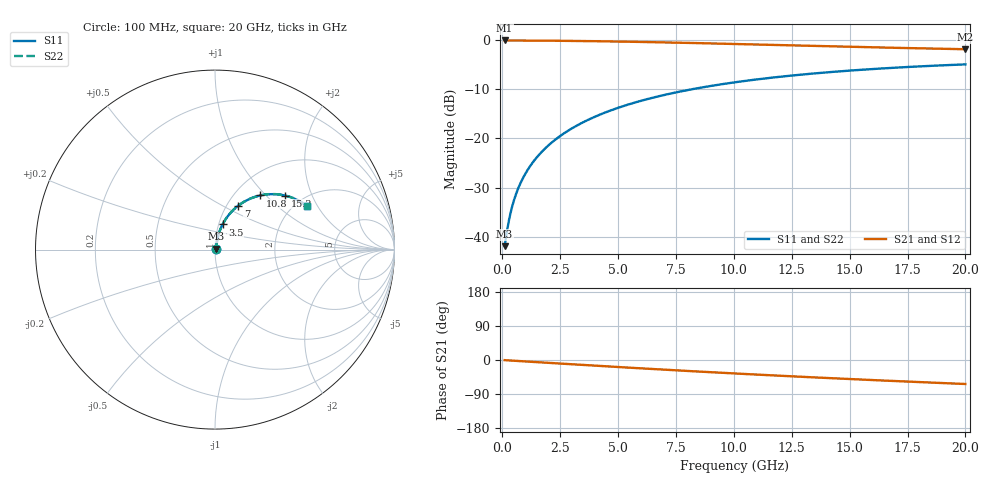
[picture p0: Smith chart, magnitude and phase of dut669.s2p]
! Touchstone file exported from HFSS 2026.1.0
!  File:  C:/ffzhzh/LocalFiles/Ansys_Project_Files/temp_train_BSMRDL_669_1783017318_53980.aedt
!  Generated:  02:36:58 AM Jul  3, 2026
!  Design:  BSMRDL
!  Project:  temp_train_BSMRDL_669_1783017318_53980
! Variables:
!  h_bsmrdl = 2.99um
!  h_ox = 20um
!  h_rdl = 5um
!  h_sub = 80um
!  h_tmrdl = 5um
!  h_tsv = 80um
!  h_via = 3um
!  l_bsmrdl = 976.64um
!  l_sub = 1376.64um
!  l_tmrdl = 200um
!  m_sub = 200um
!  pitch = 48.83um
!  r_tsv = 6um
!  s_tmrdl = 10um
!  w_bsmrdl = 17.85um
!  w_sub = 500um
!  w_tmrdl = 12um
!  x_tsv_center1 = 206um
!  x_tsv_center2 = 1200.49um
!  x_tsv_center3 = 1412.49um
!  x_tsv_center4 = 2406.98um
!  x_tsv_center5 = 2618.98um
!  x_tsv_center6 = 3613.47um
# GHz S MA R 50.000000
! Terminal data exported
! Port[1] = BSM_RDL1_1_T1
! Port[2] = BSM_RDL1_1_T2
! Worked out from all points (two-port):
!   200 points, 100 MHz to 20 GHz, reference 50 ohm
!   highest |S21| = -0.06 dB at 100 MHz (marker M1); lowest = -1.8 dB at 20 GHz (marker M2)
!   |S21| within 3 dB of the highest: start of sweep to end of sweep
!   lowest |S11| = -41.9 dB at 100 MHz (marker M3), VSWR 1.02, Z = 50.7 + j0.46 ohm
!   |S11| at or under -10 dB: start of sweep to 8.178 GHz
!   |S22| runs from -41.9 to -4.9 dB; largest |S21 - S12| = 3.8e-15
!   S11 on the Smith chart (normalised r, x): 100 MHz: 1.01, +0.01; 3.5 GHz: 1.04, +0.30; 7 GHz: 1.13, +0.60; 10.8 GHz: 1.30, +0.93; 15.2 GHz: 1.64, +1.31; 20 GHz: 2.30, +1.63
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0.1  0.008007 34.5  0.9934 -0.4  0.9934 -0.4  0.008007 34.5
! Gamma 0 0 0 0
! Port Impedance 50 0 50 0
0.2  0.01132 52.7  0.9932 -0.8  0.9932 -0.8  0.01132 52.7
0.3  0.01521 61.6  0.993 -1.2  0.993 -1.2  0.01521 61.6
0.4  0.01925 66.6  0.9927 -1.6  0.9927 -1.6  0.01925 66.6
0.5  0.02334 69.7  0.9924 -1.9  0.9924 -1.9  0.02333 69.7
0.6  0.02743 71.7  0.9921 -2.3  0.9921 -2.3  0.02743 71.7
0.8  0.03565 74.3  0.9916 -3.1  0.9916 -3.1  0.03565 74.3
1.1  0.04803 76.2  0.9908 -4.2  0.9908 -4.2  0.04803 76.2
1.6  0.06874 77.0  0.9893 -6.1  0.9893 -6.1  0.06874 77.0
2.1  0.08943 76.6  0.9875 -7.9  0.9875 -7.9  0.08942 76.6
2.7  0.1141 75.4  0.9847 -10.2  0.9847 -10.2  0.1141 75.4
3.5  0.1464 73.3  0.98 -13.1  0.98 -13.1  0.1464 73.3
5  0.2049 68.6  0.9686 -18.5  0.9686 -18.5  0.2049 68.6
6.8  0.2702 62.7  0.9514 -24.8  0.9514 -24.8  0.2702 62.8
7  0.2771 62.1  0.9494 -25.5  0.9494 -25.5  0.2771 62.1
8.5  0.3265 57.2  0.9328 -30.6  0.9328 -30.6  0.3264 57.3
10.1  0.3742 52.2  0.9141 -35.7  0.9141 -35.7  0.3742 52.3
10.8  0.3935 50.1  0.9057 -37.9  0.9057 -37.9  0.3935 50.2
13.4  0.4571 42.4  0.8749 -45.7  0.8749 -45.7  0.4571 42.6
15.2  0.494 37.5  0.8546 -50.8  0.8546 -50.8  0.4939 37.6
16.7  0.5206 33.5  0.8388 -54.9  0.8388 -54.9  0.5205 33.6
20  0.5671 25.2  0.8087 -63.3  0.8087 -63.3  0.5671 25.4
